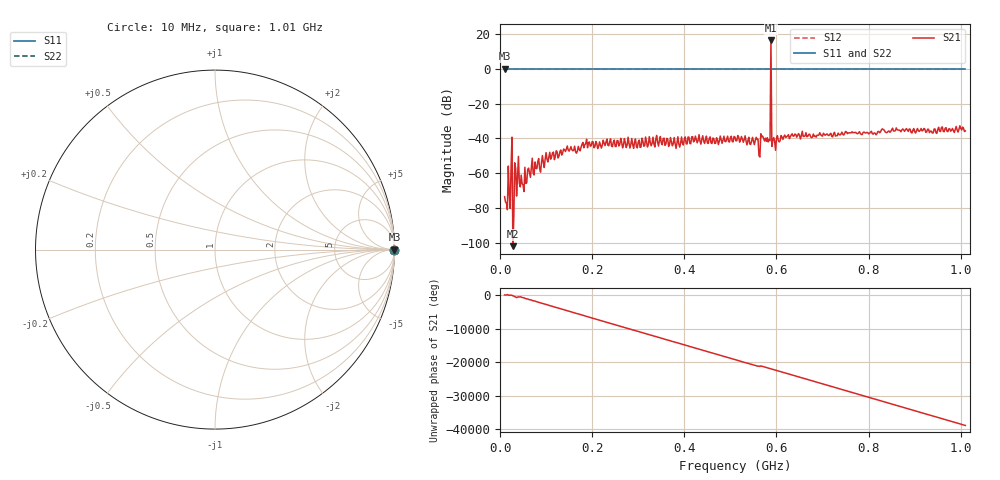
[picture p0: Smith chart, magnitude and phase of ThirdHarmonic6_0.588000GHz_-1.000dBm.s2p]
! 8/15/2025 7:04:33 PM
! C:\ANRITSUVNA\TEMP\TEMP.S2P
! CHANNEL.1
! TR.MEASUREMENT
! RAW.DATA
! RF.CORRECTION.OFF
! AVERAGING.OFF
! IF.BANDWIDTH: 5KHZ
! SWEEPTYPE:  FREQ.SWEEP(Linear)
! Reference Plane Port Info
! PORT:  PORT1  PORT2
! DISTANCE:  0  m  0  m
! TIME:  0  s  0  s
! PHASE.OFFSET:  0  deg.  0  deg.
! LOSS:  0  dB  0  dB
! REF.LOSS:  0  dB  0  dB
! REF.FREQ:  0  Hz  0  Hz
! Power Info
! POWER:  -20  dBm  -20  dBm
! EFF.POWER:  -20  dBm  -20  dBm
! SOURCE.ATTEN:  0  dB  0  dB
! TEST.ATTEN:  0  dB  0  dB
# GHZ S RI R 50.0
! FREQ.GHZ  S11RE  S11IM  S21RE  S21IM  S12RE  S12IM  S22RE  S22IM
!; PortSelection: Port_12
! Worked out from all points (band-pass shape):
!   501 points, 10 MHz to 1.01 GHz, reference 50 ohm
!   highest |S21| = 16.16 dB at 588 MHz (marker M1); lowest = -101.8 dB at 28 MHz (marker M2)
!   |S21| within 3 dB of the highest: 587.8956 MHz to 588.0987 MHz (203.1 kHz wide, 0.0345 % of centre)
!   lowest |S11| = 0.0 dB at 10 MHz (marker M3)
!   |S11| at or under -10 dB: nowhere
!   |S22| runs from 0.0 to 0.0 dB; largest |S21 - S12| = 6.1
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0.01  1 0  3.8e-06 0.000214  1 0  1 0
0.018  1 0  -6.97e-05 0.00161  1 0  1 0
0.022  1 0  8.89e-05 4.17e-05  1 0  1 0
0.026  1 0  0.0101 -0.00405  1 0  1 0
0.028  1 0  -8.1e-06 -8e-07  1 0  1 0
0.03  1 0  -1.6e-05 5.43e-05  1 0  1 0
0.032  1 0  0.00079 -0.00184  1 0  1 0
0.036  1 0  0.000193 0.00011  1 0  1 0
0.048  1 0  0.000299 0.000403  1 0  1 0
0.066  1 0  0.000122 0.000756  1 0  1 0
0.104  1 0  0.00143 -0.00156  1 0  1 0
0.178  1 0  -0.0064 -0.00222  1 0  1 0
0.344  1 0  0.00604 0.000232  1 0  1 0
0.51  1 0  -0.0109 0.000956  1 0  1 0
0.582  1 0  -0.00784 0.0013  1 0  1 0
0.584  1 0  -0.0023 0.00886  1 0  1 0
0.588  1 0  2.503 -5.921  1 0  1 0
0.592  1 0  -0.00741 0.00425  1 0  1 0
0.594  1 0  0.00533 0.00915  1 0  1 0
0.678  1 0  0.00473 -0.00976  1 0  1 0
0.844  1 0  -0.00469 0.0157  1 0  1 0
1.01  1 0  0.00327 -0.0161  1 0  1 0
